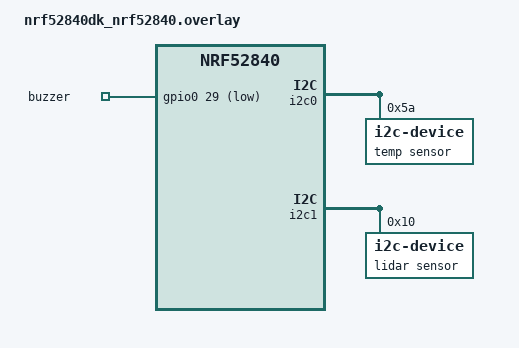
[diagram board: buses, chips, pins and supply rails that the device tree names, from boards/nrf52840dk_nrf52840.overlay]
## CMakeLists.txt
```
# SPDX-License-Identifier: Apache-2.0

cmake_minimum_required(VERSION 3.20.0)
find_package(Zephyr REQUIRED HINTS $ENV{ZEPHYR_BASE})
project(peripheral)

target_sources(app PRIVATE
  src/main.c
  src/mlx90614esf.c
  src/tf-luna.c
)
```

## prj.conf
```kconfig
# Increased stack due to settings API usage
CONFIG_SYSTEM_WORKQUEUE_STACK_SIZE=2048

CONFIG_BT=y
CONFIG_LOG=y
CONFIG_BT_SMP=y
CONFIG_BT_SIGNING=y
CONFIG_BT_PERIPHERAL=y
CONFIG_BT_DIS=y
CONFIG_BT_ATT_PREPARE_COUNT=5
CONFIG_BT_BAS=y
CONFIG_BT_HRS=y
CONFIG_BT_IAS=y
CONFIG_BT_PRIVACY=y
CONFIG_BT_DEVICE_NAME="Zephyr Peripheral Sample Long Name"
CONFIG_BT_DEVICE_APPEARANCE=833
CONFIG_BT_DEVICE_NAME_DYNAMIC=y
CONFIG_BT_DEVICE_NAME_MAX=65

CONFIG_BT_KEYS_OVERWRITE_OLDEST=y
CONFIG_BT_SETTINGS=y

CONFIG_I2C=y
CONFIG_SENSOR=y

CONFIG_NEWLIB_LIBC=y
CONFIG_NEWLIB_LIBC_FLOAT_PRINTF=y

CONFIG_FLASH=y
CONFIG_FLASH_PAGE_LAYOUT=y
CONFIG_FLASH_MAP=y
CONFIG_NVS=y
CONFIG_SETTINGS=y
```

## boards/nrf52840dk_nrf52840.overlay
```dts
&i2c0 {
    tempsensor: mysensor@5a {
        compatible = "i2c-device";
        reg = <0x5a>;
        label = "temp sensor";
    };
};

&i2c1 {
    lidarsensor: lidarsensor@10 {
        compatible = "i2c-device";
        reg = <0x10>;
        label = "lidar sensor";
    };
};

/{

    buzzer:zephyr,user {
        gpios = <&gpio0 29 GPIO_ACTIVE_LOW>;
    };
	aliases {
		buzz = &buzzer;
    };
};
&i2c1 {
    status = "okay";
};
```

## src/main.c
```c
/* main.c - Application main entry point */

/*
 * Copyright (c) 2015-2016 Intel Corporation
 *
 * SPDX-License-Identifier: Apache-2.0
 */

#include <zephyr/types.h>
#include <stddef.h>
#include <string.h>
#include <errno.h>
#include <zephyr/sys/printk.h>
#include <zephyr/sys/byteorder.h>
#include <zephyr/kernel.h>

#include <zephyr/settings/settings.h>

#include <zephyr/bluetooth/bluetooth.h>
#include <zephyr/bluetooth/hci.h>
#include <zephyr/bluetooth/conn.h>
#include <zephyr/bluetooth/uuid.h>
#include <zephyr/bluetooth/gatt.h>
#include <zephyr/drivers/i2c.h>

#include <zephyr/drivers/gpio.h>
#include "mlx90614esf.h"
#include "tf-luna.h"

#define I2C0_NODE DT_NODELABEL(tempsensor)
#define LIDAR_I2C1_NODE DT_NODELABEL(lidarsensor)
#define BUZZER_NODE DT_NODELABEL(buzzer)
#define ICE_THRESH_F 40.
#define SURFACE_MIN_THRESH 100
#define SURFACE_MAX_THRESH 120

/* Custom Service Variables */
#define BT_UUID_CUSTOM_SERVICE_VAL \
	BT_UUID_128_ENCODE(0x12345678, 0x1234, 0x5678, 0x1234, 0x56789abcdef0)

static struct bt_uuid_128 vnd_uuid = BT_UUID_INIT_128(
	BT_UUID_CUSTOM_SERVICE_VAL);

#define BT_UUID_DW_BUZZ_VAL 0xaa00
#define BT_UUID_DW_BUZZ_CNTRL \
	BT_UUID_DECLARE_16(BT_UUID_DW_BUZZ_VAL)

static uint16_t dw_bt_dist = 0;
static float dw_bt_temp;

//Acquire the distance measurement from lidar sensor
static ssize_t read_dist(struct bt_conn *conn,
						 const struct bt_gatt_attr *attr, void *buf,
						 uint16_t len, uint16_t offset)
{
	dw_bt_dist = get_dist();
	return bt_gatt_attr_read(conn, attr, buf, len, offset, &dw_bt_dist,
							 sizeof(dw_bt_dist));
}

//Acquire the temp measurement from the temperature sensor
static void take_temp()
{
	dw_bt_temp = read_sample();
}

//Acquire the temp measurement from the temperature sensor
static ssize_t read_temp(struct bt_conn *conn,
						 const struct bt_gatt_attr *attr, void *buf,
						 uint16_t len, uint16_t offset)
{
	take_temp();
	return bt_gatt_attr_read(conn, attr, buf, len, offset, &dw_bt_temp,
							 sizeof(dw_bt_temp));
}

uint32_t dw_bt_buzz_ctrl = 0;
static ssize_t read_buzz_ctrl(struct bt_conn *conn, const struct bt_gatt_attr *attr,
							  void *buf, uint16_t len, uint16_t offset)
{
	return bt_gatt_attr_read(conn, attr, buf, len, offset, &dw_bt_buzz_ctrl,
							 sizeof(dw_bt_buzz_ctrl));
}

static ssize_t write_buzz_ctrl(struct bt_conn *conn, const struct bt_gatt_attr *attr,
							   const void *buf, uint16_t len, uint16_t offset,
							   uint8_t flags)
{
	memcpy(&dw_bt_buzz_ctrl, buf, 4);
	return len;
}

static void dw_ccc_cfg_changed(const struct bt_gatt_attr *attr, uint16_t value)
{
}

/* Vendor Primary Service Declaration */
BT_GATT_SERVICE_DEFINE(vnd_svc,
					   BT_GATT_PRIMARY_SERVICE(&vnd_uuid),
					   BT_GATT_CHARACTERISTIC(BT_UUID_GATT_DST,
											  BT_GATT_CHRC_READ | BT_GATT_CHRC_NOTIFY,
											  BT_GATT_PERM_READ, read_dist, NULL,
											  &dw_bt_dist),
					   BT_GATT_CCC(dw_ccc_cfg_changed,
								   BT_GATT_PERM_READ | BT_GATT_PERM_WRITE),
					   BT_GATT_CHARACTERISTIC(BT_UUID_HTS_TEMP_F,
											  BT_GATT_CHRC_READ | BT_GATT_CHRC_NOTIFY,
											  BT_GATT_PERM_READ, read_temp, NULL,
											  &dw_bt_temp),
					   BT_GATT_CCC(dw_ccc_cfg_changed,
								   BT_GATT_PERM_READ | BT_GATT_PERM_WRITE),
					   BT_GATT_CHARACTERISTIC(BT_UUID_DW_BUZZ_CNTRL,
											  BT_GATT_CHRC_READ | BT_GATT_CHRC_WRITE_WITHOUT_RESP | BT_GATT_CHRC_WRITE,
											  BT_GATT_PERM_READ | BT_GATT_PERM_WRITE, read_buzz_ctrl, write_buzz_ctrl,
											  &dw_bt_buzz_ctrl),
					   BT_GATT_CCC(dw_ccc_cfg_changed,
								   BT_GATT_PERM_READ | BT_GATT_PERM_WRITE),

);

static const struct bt_data ad[] = {
	BT_DATA_BYTES(BT_DATA_FLAGS, (BT_LE_AD_GENERAL | BT_LE_AD_NO_BREDR)),
	BT_DATA_BYTES(BT_DATA_UUID128_ALL, BT_UUID_CUSTOM_SERVICE_VAL),
};

static void connected(struct bt_conn *conn, uint8_t err)
{
	if (err)
	{
		printk("Connection failed (err 0x%02x)\n", err);
	}
	else
	{
		printk("Connected\n");
	}
}

static void disconnected(struct bt_conn *conn, uint8_t reason)
{
	printk("Disconnected (reason 0x%02x)\n", reason);
}

BT_CONN_CB_DEFINE(conn_callbacks) = {
	.connected = connected,
	.disconnected = disconnected,
};


static void bt_ready(void)
{
	int err;

	printk("Bluetooth initialized\n");

	if (IS_ENABLED(CONFIG_SETTINGS))
	{
		settings_load();
	}

	err = bt_le_adv_start(BT_LE_ADV_CONN_NAME, ad, ARRAY_SIZE(ad), NULL, 0);
	if (err)
	{
		printk("Advertising failed to start (err %d)\n", err);
		return;
	}

	printk("Advertising successfully started\n");
}

int main(void)
{
	static const struct i2c_dt_spec lidar_dev_i2c = I2C_DT_SPEC_GET(LIDAR_I2C1_NODE);

	if (!device_is_ready(lidar_dev_i2c.bus))
	{
		printk("I2C bus %s is not ready!\n\r", lidar_dev_i2c.bus->name);
		return 1;
	}
	else
	{
		printk("I2C bus %s is ready!\n\r", lidar_dev_i2c.bus->name);
	}

	static const struct i2c_dt_spec dev_i2c = I2C_DT_SPEC_GET(I2C0_NODE);

	if (!device_is_ready(dev_i2c.bus))
	{
		printk("I2C bus %s is not ready!\n\r", dev_i2c.bus->name);
		return 1;
	}

	init_mlx90614esf(&dev_i2c);

	printk("Initing tfluna\n");
	init_tfluna(&lidar_dev_i2c);
	printk("Done Initing tfluna\n");

	int err;

	err = bt_enable(NULL);
	if (err)
	{
		printk("Bluetooth init failed (err %d)\n", err);
		return 0;
	}

	bt_ready();

	uint16_t step = 0;

	// Configure buzz gpio
	static const struct gpio_dt_spec buz_gpio = GPIO_DT_SPEC_GET(BUZZER_NODE, gpios);
	int ret = gpio_pin_configure_dt(&buz_gpio, GPIO_OUTPUT | GPIO_ACTIVE_LOW);
	if (ret != 0)
	{
		printk("Failed to configure gpio %d", ret);
	}

	while (1)
	{
		step++;
		dw_bt_dist = get_dist();
		take_temp();
		bool ice_detect = false;

		gpio_pin_set_dt(&buz_gpio, 0);

		if (dw_bt_buzz_ctrl == 0)
		{
			gpio_pin_set_dt(&buz_gpio, 0);
		}
		else
		{
			if (dw_bt_temp <= ICE_THRESH_F)
			{
				gpio_pin_set_dt(&buz_gpio, 1);
				ice_detect = true;
			}
			else
			{
				gpio_pin_set_dt(&buz_gpio, 0);
				ice_detect = false;
			}

			if (!ice_detect)
			{
				if (dw_bt_dist <= SURFACE_MIN_THRESH || dw_bt_dist >= SURFACE_MAX_THRESH)
				{
					gpio_pin_set_dt(&buz_gpio, 1);
				}
				else
				{
					gpio_pin_set_dt(&buz_gpio, 0);
				}
			}
		}

		k_sleep(K_MSEC(10));

		if (step % 100 == 0)
		{
			bt_gatt_notify(NULL, &vnd_svc.attrs[2], &dw_bt_dist, sizeof(dw_bt_dist));
			int tmp_tmp = dw_bt_temp * 10;
			bt_gatt_notify(NULL, &vnd_svc.attrs[4], &tmp_tmp, 4);
		}
	}
	return 0;
}
```

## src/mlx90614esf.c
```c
#include <stdlib.h>
#include <stdio.h>
#include "mlx90614esf.h"

#define MLX90614_TEMP_REG 0x00U
#define MLX90614_CONF_REG 0x01U
#define MLX90614_NORMAL_MODE 0x00
#define MLX90614_NONNORMAL_MODE 0x01
#define MLX90614_ADDR (0x5AU)
#define MLX90614_AMBIENT_REG 0x06U
#define MLX90614_OBJ1_REG 0x07U
#define MLX90614_OBJ2_REG 0x08U

const struct i2c_dt_spec *g_temp_dev_i2c;

void print_float(float f)
{
    // static char buf[10];
    // gcvt(f, 6, buf); // need to import stdio.h
    // printf("%s", buf);
}

int init_mlx90614esf(const struct i2c_dt_spec *dev_i2c)
{
    g_temp_dev_i2c = dev_i2c;
    uint8_t sensor_regs[1] = {MLX90614_OBJ1_REG};
    uint8_t temp_reading[2] = {0};
    int ret = i2c_write_read_dt(dev_i2c, &sensor_regs[0], 1, &temp_reading[0], 2);
    if (ret != 0)
    {
        printk("Failed to write/read I2C device address %x at Reg. %x \n\r",
               dev_i2c->addr, sensor_regs[0]);
        return 1;
    }
    return 0;
}

float scale_sample(uint16_t sample)
{

    if (sample & 0x80000U)
    {
        printf("Error bit set");
    }
    double c = (sample / 50.0) - 273.15;
    double f = (1.8 * c) + 32.0;

    // printk("Temp c:%d f:%d\n",(int)c,(int)f);

    return f;
}

float read_sample()
{
    uint8_t sensor_regs[1] = {MLX90614_OBJ1_REG};
    uint8_t temp_reading[2] = {0};
    int ret = i2c_write_read_dt(g_temp_dev_i2c, &sensor_regs[0], 1, &temp_reading[0], 2);
    if (ret != 0)
    {
        printk("Failed to write/read I2C device address %x at Reg. %x \n\r",
               g_temp_dev_i2c->addr, sensor_regs[0]);
    }

    return scale_sample(*(uint16_t *)&temp_reading[0]);
}
```

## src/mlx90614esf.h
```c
#include <zephyr/kernel.h>
#include <zephyr/drivers/i2c.h>

int init_mlx90614esf(const struct i2c_dt_spec* dev_i2c);

float scale_sample(uint16_t sample);

float read_sample();
```

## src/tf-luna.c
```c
#include <stdlib.h>
#include <stdio.h>
#include "tf-luna.h"

#define I2C_SLAVE_ADDR 0x10
#define LIDAR_ADDR 16
#define PACKET_SIZE 3
#define REG_DIST_L 0
#define REG_DIST_H 1
#define REG_TEMP_L 4
#define REG_TEMP_H 5

const struct i2c_dt_spec* g_tfluna_dev_i2c;
int init_tfluna(const struct i2c_dt_spec *dev_i2c)
{
    g_tfluna_dev_i2c = dev_i2c;
    printk("Tfluna Init \n\r");
    uint8_t dev_reg[0x23] = {0};
    int ret = i2c_read_dt(dev_i2c, &dev_reg[0], 0x23);
    if (ret != 0)
    {
        printk("TF Luna Failed to write/read I2C device address %x at Reg. %x \n\r",
               dev_i2c->addr, dev_reg[0x22]);
        return 1;
    }
    printk("Tfluna Got data %x \n\r", dev_reg[0x22]);
    return 0;
}

uint32_t get_total_dist(uint8_t dist_l, uint8_t dist_h)
{
    return (dist_h * 0xFF) + dist_l;
}

float get_dist()
{

    uint8_t dist_h, dist_l;
    int rc = i2c_reg_read_byte_dt(g_tfluna_dev_i2c, REG_DIST_H, &dist_h);

    if (rc)
    {
        printk("Unable to read reg %x\n", REG_DIST_H);
    }

    rc = i2c_reg_read_byte_dt(g_tfluna_dev_i2c, REG_DIST_L, &dist_l);

    if (rc)
    {
        printk("Unable to read reg %x\n", REG_DIST_L);
    }

    return get_total_dist(dist_l,dist_h);
}
/*

float scale_sample(uint16_t sample)
{
    return 0.;
}

float read_sample(const struct i2c_dt_spec *dev_i2c)
{
    uint8_t sensor_regs[1] = {MLX90614_OBJ1_REG};
    uint8_t temp_reading[2] = {0};
    int ret = i2c_write_read_dt(dev_i2c, &sensor_regs[0], 1, &temp_reading[0], 2);
    if (ret != 0)
    {
        printk("Failed to write/read I2C device address %x at Reg. %x \n\r",
               dev_i2c->addr, sensor_regs[0]);
    }

    return scale_sample(*(uint16_t *)&temp_reading[0]);
}
*/
```

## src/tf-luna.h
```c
#include <zephyr/kernel.h>
#include <zephyr/drivers/i2c.h>

int init_tfluna(const struct i2c_dt_spec* dev_i2c);

float get_dist();
```
